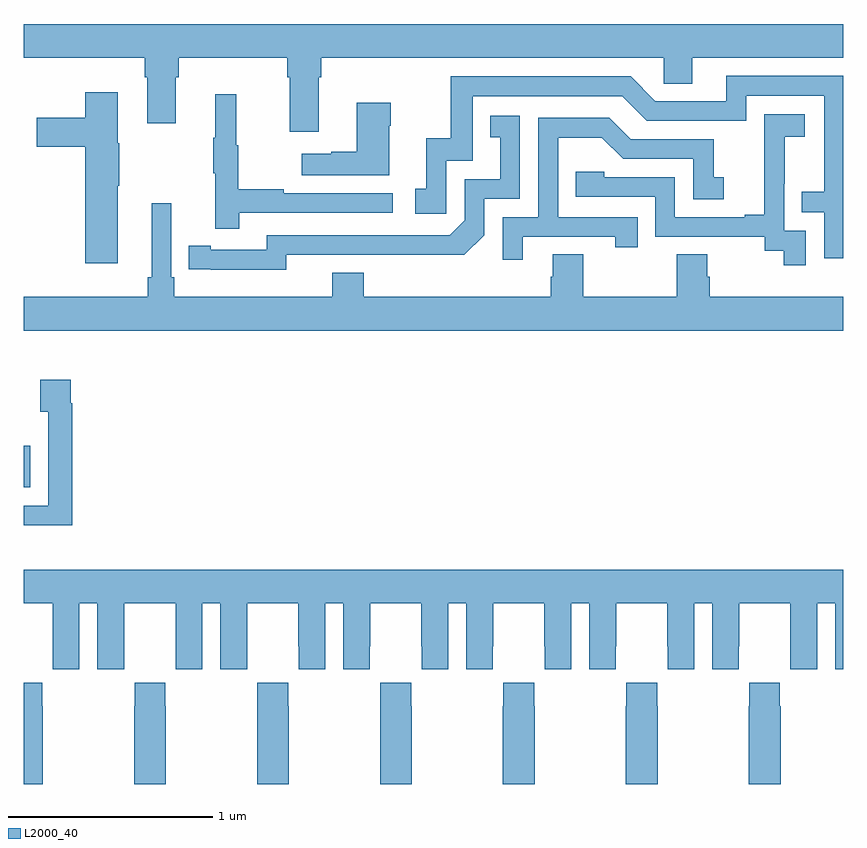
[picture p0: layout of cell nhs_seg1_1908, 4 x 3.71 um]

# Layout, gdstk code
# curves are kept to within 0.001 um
import gdstk
lib = gdstk.Library(unit=1e-6, precision=1e-09)
def R(c, l, rs):  # rectangles x0, y0, x1, y1
    for r in rs: c.add(gdstk.rectangle(r[:2], r[2:], *l))
def P(c, l, *ps):  # polygons
    for p in ps: c.add(gdstk.Polygon(p, *l))
L2000_40 = (2000, 40)

nhs_seg1_1908 = lib.new_cell('nhs_seg1_1908')
R(nhs_seg1_1908, L2000_40, [(215,537.647,215.032,537.85)])
P(nhs_seg1_1908, L2000_40, [(215,539.744),(215.591,539.744),(215.591,539.648),(215.603,539.648),(215.603,539.424),(215.743,539.424),(215.743,539.648),(215.756,539.648),(215.756,539.744),(216.287,539.744),(216.287,539.648),(216.299,539.648),(216.299,539.382),(216.439,539.382),(216.439,539.648),(216.452,539.648),(216.452,539.744),(218.124,539.744),(218.124,539.617),(218.263,539.617),(218.263,539.744),(219,539.744),(219,539.908),(215,539.908)],
  [(219,539.655),(218.429,539.655),(218.429,539.532),(218.082,539.532),(217.962,539.652),(217.083,539.652),(217.083,539.35),(216.965,539.35),(216.965,539.103),(216.912,539.103),(216.912,538.983),(217.062,538.983),(217.062,539.241),(217.191,539.241),(217.191,539.556),(217.92,539.556),(218.04,539.436),(218.526,539.436),(218.526,539.559),(218.907,539.559),(218.907,539.09),(218.797,539.09),(218.797,538.989),(218.907,538.989),(218.907,538.764),(219,538.764)],
  [(215.458,539.119),(215.466,539.119),(215.466,539.325),(215.458,539.325),(215.458,539.575),(215.3,539.575),(215.3,539.451),(215.064,539.451),(215.064,539.309),(215.3,539.309),(215.3,538.74),(215.458,538.74)],
  [(216.053,538.986),(216.802,538.986),(216.802,539.082),(216.269,539.082),(216.269,539.102),(216.046,539.102),(216.046,539.316),(216.038,539.316),(216.038,539.566),(215.936,539.566),(215.936,539.353),(215.925,539.353),(215.925,539.179),(215.936,539.179),(215.936,538.908),(216.053,538.908)],
  [(216.784,539.411),(216.792,539.411),(216.792,539.524),(216.626,539.524),(216.626,539.285),(216.5,539.285),(216.5,539.275),(216.357,539.275),(216.357,539.171),(216.784,539.171)],
  [(218.817,538.899),(218.712,538.899),(218.712,539.129),(218.714,539.129),(218.714,539.357),(218.812,539.357),(218.812,539.467),(218.614,539.467),(218.614,539.261),(218.615,539.261),(218.615,538.978),(218.519,538.978),(218.519,538.965),(218.178,538.965),(218.178,539.16),(217.833,539.16),(217.833,539.187),(217.693,539.187),(217.693,539.064),(218.082,539.064),(218.082,538.869),(218.616,538.869),(218.616,538.801),(218.709,538.801),(218.709,538.731),(218.817,538.731)],
  [(216.282,538.782),(217.15,538.781),(217.248,538.878),(217.248,539.055),(217.422,539.055),(217.422,539.461),(217.276,539.461),(217.276,539.355),(217.325,539.355),(217.325,539.151),(217.152,539.151),(217.152,538.95),(217.08,538.878),(216.186,538.878),(216.186,538.806),(215.914,538.806),(215.914,538.826),(215.806,538.826),(215.806,538.71),(216.282,538.709)],
  [(217.435,538.869),(217.886,538.869),(217.886,538.818),(217.997,538.818),(217.997,538.965),(217.608,538.965),(217.608,539.354),(217.822,539.354),(217.926,539.25),(218.268,539.25),(218.268,539.052),(218.416,539.052),(218.416,539.161),(218.367,539.161),(218.367,539.346),(217.963,539.346),(217.858,539.451),(217.512,539.451),(217.512,538.965),(217.338,538.965),(217.338,538.758),(217.435,538.758)],
  [(219,538.576),(218.348,538.576),(218.348,538.674),(218.335,538.674),(218.335,538.784),(218.188,538.784),(218.188,538.576),(217.731,538.576),(217.731,538.784),(217.583,538.784),(217.583,538.674),(217.571,538.674),(217.571,538.576),(216.659,538.576),(216.659,538.693),(216.506,538.693),(216.506,538.576),(215.735,538.576),(215.735,538.672),(215.721,538.672),(215.721,539.032),(215.624,539.032),(215.624,538.672),(215.605,538.672),(215.605,538.576),(215,538.576),(215,538.412),(219,538.412)],
  [(215.237,538.058),(215.23,538.058),(215.23,538.171),(215.081,538.171),(215.081,538.015),(215.121,538.015),(215.121,537.558),(215,537.558),(215,537.461),(215.237,537.461)],
  [(215.272,537.08),(215.36,537.08),(215.36,536.76),(215.49,536.76),(215.49,536.872),(215.491,536.872),(215.491,537.08),(215.741,537.08),(215.741,536.872),(215.742,536.872),(215.742,536.76),(215.872,536.76),(215.872,537.08),(215.96,537.08),(215.96,536.76),(216.09,536.76),(216.09,536.872),(216.091,536.872),(216.091,537.08),(216.341,537.08),(216.341,536.872),(216.342,536.872),(216.342,536.76),(216.472,536.76),(216.472,537.08),(216.56,537.08),(216.56,536.76),(216.69,536.76),(216.69,536.872),(216.691,536.872),(216.691,537.08),(216.941,537.08),(216.941,536.872),(216.942,536.872),(216.942,536.76),(217.072,536.76),(217.072,537.08),(217.16,537.08),(217.16,536.76),(217.29,536.76),(217.29,536.872),(217.291,536.872),(217.291,537.08),(217.541,537.08),(217.541,536.872),(217.542,536.872),(217.542,536.76),(217.672,536.76),(217.672,537.08),(217.76,537.08),(217.76,536.76),(217.89,536.76),(217.89,536.872),(217.891,536.872),(217.891,537.08),(218.141,537.08),(218.141,536.872),(218.142,536.872),(218.142,536.76),(218.272,536.76),(218.272,537.08),(218.36,537.08),(218.36,536.76),(218.49,536.76),(218.49,536.872),(218.491,536.872),(218.491,537.08),(218.741,537.08),(218.741,536.872),(218.742,536.872),(218.742,536.76),(218.872,536.76),(218.872,537.08),(218.96,537.08),(218.96,536.76),(219,536.76),(219,537.244),(215,537.244),(215,537.08),(215.141,537.08),(215.141,536.872),(215.142,536.872),(215.142,536.76),(215.272,536.76)],
  [(215.094,536.579),(215.091,536.579),(215.091,536.692),(215,536.692),(215,536.199),(215.094,536.199)],
  [(217.494,536.579),(217.491,536.579),(217.491,536.692),(217.341,536.692),(217.341,536.579),(217.339,536.579),(217.339,536.199),(217.494,536.199)],
  [(215.694,536.579),(215.691,536.579),(215.691,536.692),(215.541,536.692),(215.541,536.579),(215.539,536.579),(215.539,536.199),(215.694,536.199)],
  [(216.294,536.579),(216.291,536.579),(216.291,536.692),(216.141,536.692),(216.141,536.579),(216.139,536.579),(216.139,536.199),(216.294,536.199)],
  [(216.894,536.579),(216.891,536.579),(216.891,536.692),(216.741,536.692),(216.741,536.579),(216.739,536.579),(216.739,536.199),(216.894,536.199)],
  [(218.094,536.579),(218.091,536.579),(218.091,536.692),(217.941,536.692),(217.941,536.579),(217.939,536.579),(217.939,536.199),(218.094,536.199)],
  [(218.694,536.579),(218.691,536.579),(218.691,536.692),(218.541,536.692),(218.541,536.579),(218.539,536.579),(218.539,536.199),(218.694,536.199)])

lib.write_gds('nhs_seg1_1908.gds')
